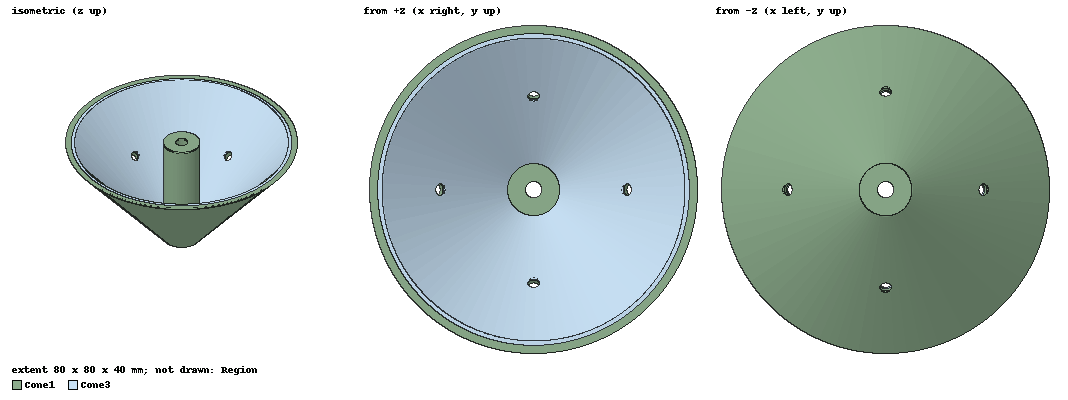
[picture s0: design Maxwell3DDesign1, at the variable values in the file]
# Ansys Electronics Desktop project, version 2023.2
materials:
  vacuum: permittivity=1
  air: permittivity=1.0006 permeability=1.0000004
  Teflon (tm): permittivity=2.1 dielectric_loss_tangent=0.001
  HDPE plastic: permittivity=2.3 dielectric_loss_tangent=0.0005
  Arlon DiClad 880 (tm): permittivity=2.2 dielectric_loss_tangent=0.0009

design Maxwell3DDesign1 (Maxwell 3D, Electrostatic, model units mm)
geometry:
  Cone1 [Arlon DiClad 880 (tm)] = cone(axis=Z, base_centre=(0mm, 0mm, 0mm), bottom_radius=40mm, top_radius=6.35mm, height=-40mm)
  Cone2 = cone(axis=Z, base_centre=(0mm, 0mm, 0mm), bottom_radius=38mm, top_radius=6.35mm, height=-38mm)
  Cylinder1 = cylinder(axis=Z, base_centre=(0mm, 0mm, 0mm), radius=6.35mm, height=-40mm)
  Cone2.subtract(Cylinder1)
  Cone1.subtract(Cone2)
  Cylinder13 = cylinder(axis=Z, base_centre=(-12.5mm, 0mm, -40mm), radius=1.5mm, height=70mm)
  Cylinder13.rotate(axis=Y, angle=27deg)
  Cylinder14 = cylinder(axis=Z, base_centre=(12.5mm, 0mm, -40mm), radius=1.5mm, height=70mm)
  Cylinder14.rotate(axis=Y, angle=-27deg)
  Cylinder15 = cylinder(axis=Z, base_centre=(0mm, 12.5mm, -40mm), radius=1.5mm, height=70mm)
  Cylinder15.rotate(axis=X, angle=27deg)
  Cylinder16 = cylinder(axis=Z, base_centre=(0mm, -12.5mm, -40mm), radius=1.5mm, height=70mm)
  Cylinder16.rotate(axis=X, angle=-27deg)
  Cone3 [air] = cone(axis=Z, base_centre=(0mm, 0mm, 0mm), bottom_radius=38mm, top_radius=6.35mm, height=-38mm)
  Cylinder17 = cylinder(axis=Z, base_centre=(0mm, 0mm, 0mm), radius=6.35mm, height=-40mm)
  Cone3.subtract(Cylinder17)
  Cone4 = cone(axis=Z, base_centre=(0mm, 0mm, 0mm), bottom_radius=37mm, top_radius=6.35mm, height=-37mm)
  Cone3.subtract(Cone4)
  Cylinder13_1 = Cylinder13.copy()
  Cylinder14_1 = Cylinder14.copy()
  Cylinder15_1 = Cylinder15.copy()
  Cylinder16_1 = Cylinder16.copy()
  Cone1.subtract(Cylinder13_1, Cylinder14_1, Cylinder15_1, Cylinder16_1)
  Cone3.subtract(Cylinder13..Cylinder16)
  Cylinder18 = cylinder(axis=Z, base_centre=(0mm, 0mm, 0mm), radius=2mm, height=-40mm)
  Cone1.subtract(Cylinder18)
  Region [vacuum] = region(percentage_offset=50 on all sides)
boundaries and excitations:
  Voltage1: Voltage Objects=Region Voltage=100kV
  Charge1: Charge Objects=Cone3 Value=7.8e-06
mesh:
  initial mesh: GlobalCurvilinear{Apply}
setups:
  Setup1: Electrostatic MaximumPasses=50 MinimumPasses=2 MinimumConvergedPasses=1 PercentRefinement=30 PercentError=0.01 NonLinearResidual=0.001
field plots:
  E_Vector1: E in Cone3 on Setup1 : LastAdaptive
